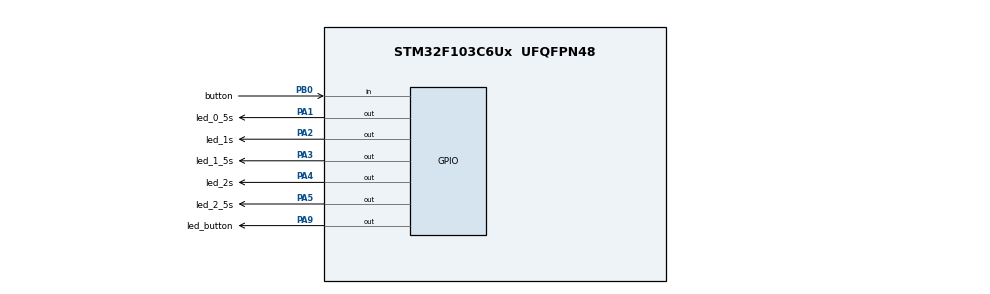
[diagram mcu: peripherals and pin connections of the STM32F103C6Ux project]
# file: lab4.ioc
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Mcu.Family=STM32F1
Mcu.Name=STM32F103C6Ux
Mcu.Package=UFQFPN48
NVIC.PriorityGroup=NVIC_PRIORITYGROUP_4
NVIC.TIM2_IRQn=true\:0\:0\:false\:false\:true\:true\:true
PA1.GPIO_Label=led_0_5s
PA1.Signal=GPIO_Output
PA2.GPIO_Label=led_1s
PA2.Signal=GPIO_Output
PA3.GPIO_Label=led_1_5s
PA3.Signal=GPIO_Output
PA4.GPIO_Label=led_2s
PA4.Signal=GPIO_Output
PA5.GPIO_Label=led_2_5s
PA5.Signal=GPIO_Output
PA9.GPIO_Label=led_button
PA9.Signal=GPIO_Output
PB0.GPIO_Label=button
PB0.GPIO_PuPd=GPIO_PULLUP
PB0.Signal=GPIO_Input
ProjectManager.HeapSize=0x200
ProjectManager.StackSize=0x400
ProjectManager.TargetToolchain=STM32CubeIDE
RCC.APB1Freq_Value=8000000
RCC.APB2Freq_Value=8000000
TIM2.Period=9
TIM2.Prescaler=7999
VP_SYS_VS_ND.Mode=No_Debug
VP_TIM2_VS_ClockSourceINT.Mode=Internal
board=custom

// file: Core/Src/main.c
/* USER CODE BEGIN Header */
/**
  ******************************************************************************
  * @file           : main.c
  * @brief          : Main program body
  ******************************************************************************
  */
/* USER CODE END Header */
#include "main.h"

/* USER CODE BEGIN Includes */
#include "sch.h"
#include "stm32f1xx_hal_gpio_ex.h"
#include <stdio.h>
/* USER CODE END Includes */

/* USER CODE BEGIN PD */
#define LED_ON(pin)      HAL_GPIO_WritePin(GPIOA, (pin), GPIO_PIN_RESET)
#define LED_OFF(pin)     HAL_GPIO_WritePin(GPIOA, (pin), GPIO_PIN_SET)
#define LED_TOGGLE(pin)  HAL_GPIO_TogglePin(GPIOA, (pin))
/* USER CODE END PD */

TIM_HandleTypeDef htim2;

void SystemClock_Config(void);
static void MX_GPIO_Init(void);
static void MX_TIM2_Init(void);
/* USER CODE BEGIN PFP */
static void Debug_UART_Init(void);
static void Task_Print_Time(void);
static void Task_Button(void);
static void Task_LED_0_5s(void);
static void Task_LED_1s(void);
static void Task_LED_1_5s(void);
static void Task_LED_2s(void);
static void Task_LED_2_5s(void);
static void Demo_OneShot_A(void);
static void Demo_OneShot_B(void);
static void Demo_Cancelled(void);
/* USER CODE END PFP */

/* USER CODE BEGIN 0 */
static void Debug_UART_Init(void)
{
    GPIO_InitTypeDef gpio = {0};
    uint32_t pclk2;

    __HAL_RCC_GPIOB_CLK_ENABLE();
    __HAL_RCC_AFIO_CLK_ENABLE();
    __HAL_RCC_USART1_CLK_ENABLE();

    /* USART1 remap: TX is PB6, leaving PA2/PA3/PA9 for the LEDs. */
    __HAL_AFIO_REMAP_USART1_ENABLE();

    gpio.Pin = GPIO_PIN_6;
    gpio.Mode = GPIO_MODE_AF_PP;
    gpio.Pull = GPIO_NOPULL;
    gpio.Speed = GPIO_SPEED_FREQ_HIGH;
    HAL_GPIO_Init(GPIOB, &gpio);

    USART1->CR1 = 0U;
    USART1->CR2 = 0U;
    USART1->CR3 = 0U;

    /* 8 MHz PCLK2, 57600 baud; calculate BRR from the actual PCLK2. */
    pclk2 = HAL_RCC_GetPCLK2Freq();
    USART1->BRR = (pclk2 + 28800U) / 57600U;
    USART1->CR1 = USART_CR1_TE | USART_CR1_UE;
}

/* syscalls.c routes printf through this function. */
int __io_putchar(int character)
{
    while ((USART1->SR & USART_SR_TXE) == 0U)
    {
    }

    USART1->DR = (uint16_t)(uint8_t)character;
    return character;
}

static void Task_Print_Time(void)
{
    printf("get_time = %lu ms\r\n", (unsigned long)get_time());
}

static void Task_Button(void)
{
    /* Three equal 10 ms samples debounce the active-low button. */
    static uint8_t candidate = 1U;
    static uint8_t stable_state = 1U;
    static uint8_t sample_count = 0U;
    static uint8_t led_button_on = 0U;
    uint8_t raw_state =
        (HAL_GPIO_ReadPin(button_GPIO_Port, button_Pin) == GPIO_PIN_SET) ? 1U : 0U;

    if (raw_state != candidate)
    {
        candidate = raw_state;
        sample_count = 1U;
        return;
    }

    if (sample_count < 3U)
    {
        sample_count++;
    }

    if ((sample_count >= 3U) && (candidate != stable_state))
    {
        stable_state = candidate;

        /* Toggle D6 once on the debounced press edge; release does not undo it. */
        if (stable_state == 0U)
        {
            led_button_on ^= 1U;
            if (led_button_on != 0U)
            {
                LED_ON(led_button_Pin);
                printf("button toggled D6 ON at %lu ms\r\n",
                       (unsigned long)get_time());
            }
            else
            {
                LED_OFF(led_button_Pin);
                printf("button toggled D6 OFF at %lu ms\r\n",
                       (unsigned long)get_time());
            }
        }
    }
}

static void Task_LED_0_5s(void) { LED_TOGGLE(led_0_5s_Pin); }
static void Task_LED_1s(void)   { LED_TOGGLE(led_1s_Pin); }
static void Task_LED_1_5s(void) { LED_TOGGLE(led_1_5s_Pin); }
static void Task_LED_2s(void)   { LED_TOGGLE(led_2s_Pin); }
static void Task_LED_2_5s(void) { LED_TOGGLE(led_2_5s_Pin); }

static void Demo_OneShot_A(void)
{
    printf("one-shot A at %lu ms\r\n", (unsigned long)get_time());
}

static void Demo_OneShot_B(void)
{
    printf("one-shot B at %lu ms\r\n", (unsigned long)get_time());
}

static void Demo_Cancelled(void)
{
    printf("ERROR: deleted task ran at %lu ms\r\n", (unsigned long)get_time());
}
/* USER CODE END 0 */

int main(void)
{
    /* USER CODE BEGIN 1 */
    uint32_t cancelled_task_id;
    /* USER CODE END 1 */

    HAL_Init();

    SystemClock_Config();

    MX_GPIO_Init();
    MX_TIM2_Init();

    /* USER CODE BEGIN 2 */
    /* All six LEDs are wired to +3.3 V and are active-low: high means OFF. */
    HAL_GPIO_WritePin(GPIOA,
                      led_0_5s_Pin | led_1s_Pin | led_1_5s_Pin | led_2s_Pin |
                      led_2_5s_Pin | led_button_Pin,
                      GPIO_PIN_SET);

    Debug_UART_Init();
    SCH_Init();

    /* One callback each 10 ms prints the scheduler's time base. */
    (void)SCH_Add_Task(Task_Print_Time, 1U, 1U);

    /* Required periods: 0.5, 1.0, 1.5, 2.0 and 2.5 seconds. */
    (void)SCH_Add_Task(Task_LED_0_5s, 50U, 50U);
    (void)SCH_Add_Task(Task_LED_1s, 100U, 100U);
    (void)SCH_Add_Task(Task_LED_1_5s, 150U, 150U);
    (void)SCH_Add_Task(Task_LED_2s, 200U, 200U);
    (void)SCH_Add_Task(Task_LED_2_5s, 250U, 250U);

    /* Button scan/debounce also runs every 10 ms. */
    (void)SCH_Add_Task(Task_Button, 1U, 1U);

    /* Two one-shot timeouts, both registered before the main loop. */
    (void)SCH_Add_Task(Demo_OneShot_A, 20U, 0U); /* 200 ms */
    (void)SCH_Add_Task(Demo_OneShot_B, 35U, 0U); /* 350 ms */

    /* Exercise Delete_Task: this callback must never run. */
    cancelled_task_id = SCH_Add_Task(Demo_Cancelled, 70U, 0U);
    if ((cancelled_task_id == SCH_INVALID_TASK_ID) ||
        (SCH_Delete_Task(cancelled_task_id) != 0U))
    {
        Error_Handler();
    }

    if (HAL_TIM_Base_Start_IT(&htim2) != HAL_OK)
    {
        Error_Handler();
    }
    /* USER CODE END 2 */

    while (1)
    {

        /* USER CODE BEGIN 3 */
        SCH_Dispatch_Tasks();
        /* USER CODE END 3 */
    }
}

void SystemClock_Config(void)
{
    RCC_OscInitTypeDef RCC_OscInitStruct = {0};
    RCC_ClkInitTypeDef RCC_ClkInitStruct = {0};

    RCC_OscInitStruct.OscillatorType = RCC_OSCILLATORTYPE_HSI;
    RCC_OscInitStruct.HSIState = RCC_HSI_ON;
    RCC_OscInitStruct.HSICalibrationValue = RCC_HSICALIBRATION_DEFAULT;
    RCC_OscInitStruct.PLL.PLLState = RCC_PLL_NONE;
    if (HAL_RCC_OscConfig(&RCC_OscInitStruct) != HAL_OK)
    {
        Error_Handler();
    }

    RCC_ClkInitStruct.ClockType = RCC_CLOCKTYPE_HCLK |
                                  RCC_CLOCKTYPE_SYSCLK |
                                  RCC_CLOCKTYPE_PCLK1 |
                                  RCC_CLOCKTYPE_PCLK2;
    RCC_ClkInitStruct.SYSCLKSource = RCC_SYSCLKSOURCE_HSI;
    RCC_ClkInitStruct.AHBCLKDivider = RCC_SYSCLK_DIV1;
    RCC_ClkInitStruct.APB1CLKDivider = RCC_HCLK_DIV1;
    RCC_ClkInitStruct.APB2CLKDivider = RCC_HCLK_DIV1;
    if (HAL_RCC_ClockConfig(&RCC_ClkInitStruct, FLASH_LATENCY_0) != HAL_OK)
    {
        Error_Handler();
    }
}

static void MX_TIM2_Init(void)
{
    TIM_ClockConfigTypeDef clock_source = {0};
    TIM_MasterConfigTypeDef master_config = {0};

    htim2.Instance = TIM2;
    htim2.Init.Prescaler = 7999U;
    htim2.Init.CounterMode = TIM_COUNTERMODE_UP;
    htim2.Init.Period = 9U;
    htim2.Init.ClockDivision = TIM_CLOCKDIVISION_DIV1;
    htim2.Init.AutoReloadPreload = TIM_AUTORELOAD_PRELOAD_DISABLE;
    if (HAL_TIM_Base_Init(&htim2) != HAL_OK)
    {
        Error_Handler();
    }

    clock_source.ClockSource = TIM_CLOCKSOURCE_INTERNAL;
    if (HAL_TIM_ConfigClockSource(&htim2, &clock_source) != HAL_OK)
    {
        Error_Handler();
    }

    master_config.MasterOutputTrigger = TIM_TRGO_RESET;
    master_config.MasterSlaveMode = TIM_MASTERSLAVEMODE_DISABLE;
    if (HAL_TIMEx_MasterConfigSynchronization(&htim2, &master_config) != HAL_OK)
    {
        Error_Handler();
    }
}

static void MX_GPIO_Init(void)
{
    GPIO_InitTypeDef GPIO_InitStruct = {0};

    __HAL_RCC_GPIOA_CLK_ENABLE();
    __HAL_RCC_GPIOB_CLK_ENABLE();

    /*Configure GPIO pin Output Level */
    HAL_GPIO_WritePin(GPIOA,
                      led_0_5s_Pin | led_1s_Pin | led_1_5s_Pin | led_2s_Pin |
                      led_2_5s_Pin | led_button_Pin,
                      GPIO_PIN_RESET);

    /*Configure GPIO pins : LEDs */
    GPIO_InitStruct.Pin = led_0_5s_Pin | led_1s_Pin | led_1_5s_Pin |
                          led_2s_Pin | led_2_5s_Pin | led_button_Pin;
    GPIO_InitStruct.Mode = GPIO_MODE_OUTPUT_PP;
    GPIO_InitStruct.Pull = GPIO_NOPULL;
    GPIO_InitStruct.Speed = GPIO_SPEED_FREQ_LOW;
    HAL_GPIO_Init(GPIOA, &GPIO_InitStruct);

    /*Configure GPIO pin : button */
    GPIO_InitStruct.Pin = button_Pin;
    GPIO_InitStruct.Mode = GPIO_MODE_INPUT;
    GPIO_InitStruct.Pull = GPIO_PULLUP;
    HAL_GPIO_Init(button_GPIO_Port, &GPIO_InitStruct);
}

/* USER CODE BEGIN 4 */
void HAL_TIM_PeriodElapsedCallback(TIM_HandleTypeDef *htim)
{
    if (htim->Instance == TIM2)
    {
        SCH_Update();
    }
}
/* USER CODE END 4 */

void Error_Handler(void)
{
    __disable_irq();
    while (1)
    {
    }
}
